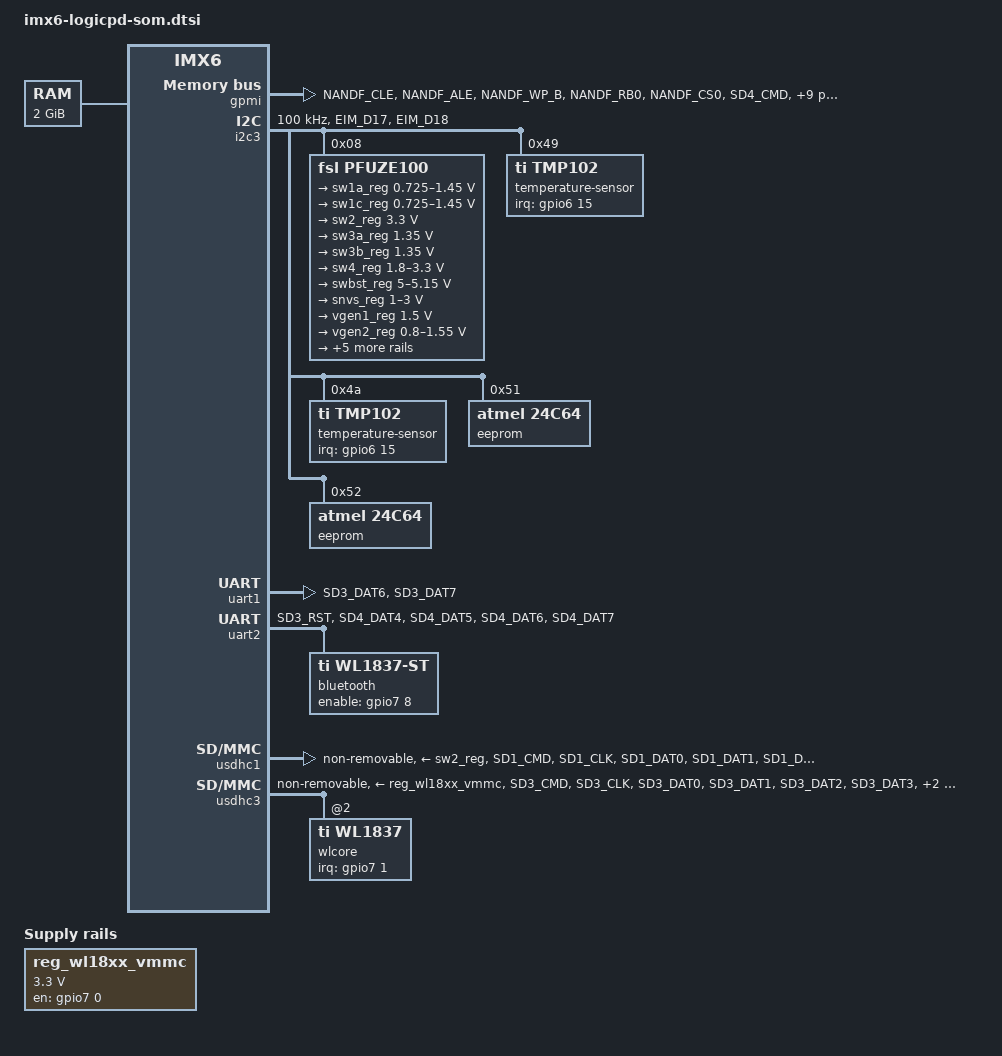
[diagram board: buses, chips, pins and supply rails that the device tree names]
// SPDX-License-Identifier: GPL-2.0
//
// Copyright (C) 2019 Logic PD, Inc.

#include <dt-bindings/gpio/gpio.h>
#include <dt-bindings/input/input.h>

/ {
	chosen {
		stdout-path = &uart1;
	};

	memory@10000000 {
		device_type = "memory";
		reg = <0x10000000 0x80000000>;
	};

	reg_wl18xx_vmmc: regulator-wl18xx {
		compatible = "regulator-fixed";
		regulator-name = "vwl1837";
		regulator-min-microvolt = <3300000>;
		regulator-max-microvolt = <3300000>;
		gpio = <&gpio7 0 GPIO_ACTIVE_HIGH>;
		startup-delay-us = <70000>;
		enable-active-high;
	};
};

&clks {
	assigned-clocks = <&clks IMX6QDL_CLK_LDB_DI0_SEL>,
			  <&clks IMX6QDL_CLK_LDB_DI1_SEL>;
	assigned-clock-parents = <&clks IMX6QDL_CLK_PLL3_USB_OTG>,
				 <&clks IMX6QDL_CLK_PLL3_USB_OTG>;
};

&gpmi {
	pinctrl-names = "default";
	pinctrl-0 = <&pinctrl_gpmi_nand>;
	nand-on-flash-bbt;
	status = "okay";
};

&i2c3 {
	clock-frequency = <100000>;
	pinctrl-names = "default";
	pinctrl-0 = <&pinctrl_i2c3>;
	status = "okay";

	pfuze100: pmic@8 {
		compatible = "fsl,pfuze100";
		reg = <0x08>;

		regulators {
			sw1a_reg: sw1ab {
				regulator-min-microvolt = <725000>;
				regulator-max-microvolt = <1450000>;
				regulator-name = "vddcore";
				regulator-boot-on;
				regulator-always-on;
				regulator-ramp-delay = <6250>;
			};

			sw1c_reg: sw1c {
				regulator-min-microvolt = <725000>;
				regulator-max-microvolt = <1450000>;
				regulator-name = "vddsoc";
				regulator-boot-on;
				regulator-always-on;
				regulator-ramp-delay = <6250>;
			};

			sw2_reg: sw2 {
				regulator-min-microvolt = <3300000>;
				regulator-max-microvolt = <3300000>;
				regulator-name = "gen_3v3";
				regulator-boot-on;
			};

			sw3a_reg: sw3a {
				regulator-min-microvolt = <1350000>;
				regulator-max-microvolt = <1350000>;
				regulator-name = "sw3a_vddr";
				regulator-boot-on;
				regulator-always-on;
			};

			sw3b_reg: sw3b {
				regulator-min-microvolt = <1350000>;
				regulator-max-microvolt = <1350000>;
				regulator-name = "sw3b_vddr";
				regulator-boot-on;
				regulator-always-on;
			};

			sw4_reg: sw4 {
				regulator-min-microvolt = <1800000>;
				regulator-max-microvolt = <3300000>;
				regulator-name = "gen_rgmii";
			};

			swbst_reg: swbst {
				regulator-min-microvolt = <5000000>;
				regulator-max-microvolt = <5150000>;
				regulator-name = "gen_5v0";
			};

			snvs_reg: vsnvs {
				regulator-min-microvolt = <1000000>;
				regulator-max-microvolt = <3000000>;
				regulator-name = "gen_vsns";
				regulator-boot-on;
				regulator-always-on;
			};

			vref_reg: vrefddr {
				regulator-boot-on;
				regulator-always-on;
			};

			vgen1_reg: vgen1 {
				regulator-min-microvolt = <1500000>;
				regulator-max-microvolt = <1500000>;
				regulator-name = "gen_1v5";
			};

			vgen2_reg: vgen2 {
				regulator-name = "vgen2";
				regulator-min-microvolt = <800000>;
				regulator-max-microvolt = <1550000>;
			};

			vgen3_reg: vgen3 {
				regulator-name = "gen_vadj_0";
				regulator-min-microvolt = <1800000>;
				regulator-max-microvolt = <3300000>;
			};

			vgen4_reg: vgen4 {
				regulator-name = "gen_1v8";
				regulator-min-microvolt = <1800000>;
				regulator-max-microvolt = <1800000>;
				regulator-always-on;
			};

			vgen5_reg: vgen5 {
				regulator-name = "gen_vadj_1";
				regulator-min-microvolt = <1800000>;
				regulator-max-microvolt = <3300000>;
				regulator-always-on;
			};

			vgen6_reg: vgen6 {
				regulator-name = "gen_2v5";
				regulator-min-microvolt = <2500000>;
				regulator-max-microvolt = <2500000>;
				regulator-always-on;
			};

			coin_reg: coin {
				regulator-min-microvolt = <2500000>;
				regulator-max-microvolt = <3000000>;
				regulator-always-on;
			};
		};
	};

	temperature-sensor@49 {
		compatible = "ti,tmp102";
		reg = <0x49>;
		interrupt-parent = <&gpio6>;
		interrupts = <15 IRQ_TYPE_LEVEL_LOW>;
		#thermal-sensor-cells = <1>;
	};

	temperature-sensor@4a {
		compatible = "ti,tmp102";
		reg = <0x4a>;
		pinctrl-names = "default";
		pinctrl-0 = <&pinctrl_tempsense>;
		interrupt-parent = <&gpio6>;
		interrupts = <15 IRQ_TYPE_LEVEL_LOW>;
		#thermal-sensor-cells = <1>;
	};

	eeprom@51 {
		compatible = "atmel,24c64";
		pagesize = <32>;
		read-only;	/* Manufacturing EEPROM programmed at factory */
		reg = <0x51>;
	};

	eeprom@52 {
		compatible = "atmel,24c64";
		pagesize = <32>;
		reg = <0x52>;
	};
};

/* Reroute power feeding the CPU to come from the external PMIC */
&reg_arm
{
	vin-supply = <&sw1a_reg>;
};

&reg_soc
{
	vin-supply = <&sw1c_reg>;
};

&iomuxc {
	pinctrl-names = "default";
	pinctrl-0 = <&pinctrl_hog>;

	pinctrl_gpmi_nand: gpmi-nandgrp {
		fsl,pins = <
			MX6QDL_PAD_NANDF_CLE__NAND_CLE		0x0b0b1
			MX6QDL_PAD_NANDF_ALE__NAND_ALE		0x0b0b1
			MX6QDL_PAD_NANDF_WP_B__NAND_WP_B	0x0b0b1
			MX6QDL_PAD_NANDF_RB0__NAND_READY_B	0x0b000
			MX6QDL_PAD_NANDF_CS0__NAND_CE0_B	0x0b0b1
			MX6QDL_PAD_SD4_CMD__NAND_RE_B		0x0b0b1
			MX6QDL_PAD_SD4_CLK__NAND_WE_B		0x0b0b1
			MX6QDL_PAD_NANDF_D0__NAND_DATA00	0x0b0b1
			MX6QDL_PAD_NANDF_D1__NAND_DATA01	0x0b0b1
			MX6QDL_PAD_NANDF_D2__NAND_DATA02	0x0b0b1
			MX6QDL_PAD_NANDF_D3__NAND_DATA03	0x0b0b1
			MX6QDL_PAD_NANDF_D4__NAND_DATA04	0x0b0b1
			MX6QDL_PAD_NANDF_D5__NAND_DATA05	0x0b0b1
			MX6QDL_PAD_NANDF_D6__NAND_DATA06	0x0b0b1
			MX6QDL_PAD_NANDF_D7__NAND_DATA07	0x0b0b1
		>;
	};

	pinctrl_hog: hoggrp {
		fsl,pins = <	/* Enable ARM Debugger */
			MX6QDL_PAD_CSI0_MCLK__ARM_TRACE_CTL	0x1b0b0
			MX6QDL_PAD_CSI0_PIXCLK__ARM_EVENTO	0x1b0b0
			MX6QDL_PAD_CSI0_VSYNC__ARM_TRACE00	0x1b0b0
			MX6QDL_PAD_CSI0_DATA_EN__ARM_TRACE_CLK	0x1b0b0
			MX6QDL_PAD_CSI0_DAT4__ARM_TRACE01	0x1b0b0
			MX6QDL_PAD_CSI0_DAT5__ARM_TRACE02	0x1b0b0
			MX6QDL_PAD_CSI0_DAT6__ARM_TRACE03	0x1b0b0
			MX6QDL_PAD_CSI0_DAT7__ARM_TRACE04	0x1b0b0
			MX6QDL_PAD_CSI0_DAT8__ARM_TRACE05	0x1b0b0
			MX6QDL_PAD_CSI0_DAT9__ARM_TRACE06	0x1b0b0
			MX6QDL_PAD_CSI0_DAT10__ARM_TRACE07	0x1b0b0
			MX6QDL_PAD_CSI0_DAT11__ARM_TRACE08	0x1b0b0
			MX6QDL_PAD_CSI0_DAT12__ARM_TRACE09	0x1b0b0
			MX6QDL_PAD_CSI0_DAT13__ARM_TRACE10	0x1b0b0
			MX6QDL_PAD_CSI0_DAT14__ARM_TRACE11	0x1b0b0
			MX6QDL_PAD_CSI0_DAT15__ARM_TRACE12	0x1b0b0
			MX6QDL_PAD_CSI0_DAT16__ARM_TRACE13	0x1b0b0
			MX6QDL_PAD_CSI0_DAT17__ARM_TRACE14	0x1b0b0
			MX6QDL_PAD_CSI0_DAT18__ARM_TRACE15	0x1b0b0
			MX6QDL_PAD_GPIO_0__CCM_CLKO1        0x130b0
		>;
	};

	pinctrl_i2c3: i2c3grp {
		fsl,pins = <
			MX6QDL_PAD_EIM_D17__I2C3_SCL		0x4001b8b1
			MX6QDL_PAD_EIM_D18__I2C3_SDA		0x4001b8b1
		>;
	};

	pinctrl_tempsense: tempsensegrp {
		fsl,pins = <
			MX6QDL_PAD_NANDF_CS2__GPIO6_IO15 0x1b0b0
		>;
	};

	pinctrl_uart1: uart1grp {
		fsl,pins = <
			MX6QDL_PAD_SD3_DAT6__UART1_RX_DATA	0x1b0b1
			MX6QDL_PAD_SD3_DAT7__UART1_TX_DATA	0x1b0b1
		>;
	};

	pinctrl_uart2: uart2grp {
		fsl,pins = <
			MX6QDL_PAD_SD3_RST__GPIO7_IO08		0x13059	/* BT_EN */
			MX6QDL_PAD_SD4_DAT4__UART2_RX_DATA	0x1b0b1
			MX6QDL_PAD_SD4_DAT5__UART2_RTS_B	0x1b0b1
			MX6QDL_PAD_SD4_DAT6__UART2_CTS_B	0x1b0b1
			MX6QDL_PAD_SD4_DAT7__UART2_TX_DATA	0x1b0b1
		>;
	};

	pinctrl_usdhc1: usdhc1grp {
		fsl,pins = <
			MX6QDL_PAD_SD1_CMD__SD1_CMD	0x170B9
			MX6QDL_PAD_SD1_CLK__SD1_CLK	0x100B9
			MX6QDL_PAD_SD1_DAT0__SD1_DATA0	0x170B9
			MX6QDL_PAD_SD1_DAT1__SD1_DATA1	0x170B9
			MX6QDL_PAD_SD1_DAT2__SD1_DATA2	0x170B9
			MX6QDL_PAD_SD1_DAT3__SD1_DATA3	0x170B9
		>;
	};

	pinctrl_usdhc3: usdhc3grp {
		fsl,pins = <
			MX6QDL_PAD_SD3_CMD__SD3_CMD    0x17049
			MX6QDL_PAD_SD3_CLK__SD3_CLK    0x10049
			MX6QDL_PAD_SD3_DAT0__SD3_DATA0 0x17049
			MX6QDL_PAD_SD3_DAT1__SD3_DATA1 0x17049
			MX6QDL_PAD_SD3_DAT2__SD3_DATA2 0x17049
			MX6QDL_PAD_SD3_DAT3__SD3_DATA3 0x17049
			MX6QDL_PAD_SD3_DAT4__GPIO7_IO01	0x130b0 /* WL_IRQ */
			MX6QDL_PAD_SD3_DAT5__GPIO7_IO00	0x17059 /* WLAN_EN */
		>;
	};
};

&snvs_poweroff {
	status = "okay";
};

&uart1 {
	pinctrl-names = "default";
	pinctrl-0 = <&pinctrl_uart1>;
	status = "okay";
};

&uart2 {
	pinctrl-names = "default";
	pinctrl-0 = <&pinctrl_uart2>;
	uart-has-rtscts;
	status = "okay";

	bluetooth {
		compatible = "ti,wl1837-st";
		enable-gpios = <&gpio7 8 GPIO_ACTIVE_HIGH>;
	};
};

&usdhc1 {
	pinctrl-names = "default", "state_100mhz", "state_200mhz";
	pinctrl-0 = <&pinctrl_usdhc1>;
	non-removable;
	keep-power-in-suspend;
	wakeup-source;
	vmmc-supply = <&sw2_reg>;
	status = "okay";
};

&usdhc3 {
	pinctrl-names = "default";
	pinctrl-0 = <&pinctrl_usdhc3>;
	non-removable;
	cap-power-off-card;
	keep-power-in-suspend;
	wakeup-source;
	vmmc-supply = <&reg_wl18xx_vmmc>;
	#address-cells = <1>;
	#size-cells = <0>;
	status = "okay";

	wlcore: wlcore@2 {
		  compatible = "ti,wl1837";
		  reg = <2>;
		  interrupt-parent = <&gpio7>;
		  interrupts = <1 IRQ_TYPE_LEVEL_HIGH>;
		  tcxo-clock-frequency = <26000000>;
	};
};
